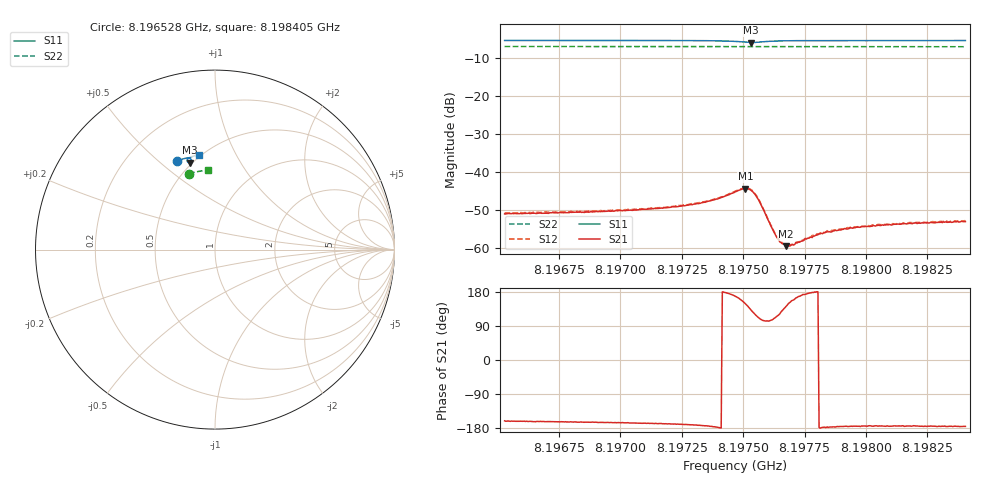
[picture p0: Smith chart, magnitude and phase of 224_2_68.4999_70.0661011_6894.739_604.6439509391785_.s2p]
#  HZ  S  RI  R  50.00
! Rohde & Schwarz Vector Network Analyzer
! Rohde-Schwarz,ZNB20-2Port,1311601062101988,3.16
! Created: UTC 3/20/2024, 5:13:46 PM
! freq[Hz]  re:S11  im:S11  re:S21  im:S21  re:S12  im:S12  re:S22  im:S22
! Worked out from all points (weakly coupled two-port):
!   401 points, 8.196528 GHz to 8.198405 GHz, reference 50 ohm
!   highest |S21| = -44.32 dB at 8.197509 GHz (marker M1); lowest = -59.4 dB at 8.197673 GHz (marker M2)
!   lowest |S11| = -5.9 dB at 8.197532 GHz (marker M3), VSWR 3.03, Z = 24.3 + j31.6 ohm
!   |S11| at or under -10 dB: nowhere
!   |S22| runs from -7.1 to -7.0 dB; largest |S21 - S12| = 0.0003
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8.1965284e9  -0.2132 0.4921  -0.00267 -0.000941  -0.0028 -0.000843  -0.1442 0.4232
8.1968428e9  -0.1917 0.5006  -0.00284 -0.000821  -0.00298 -0.000701  -0.127 0.4281
8.1971571e9  -0.1686 0.5078  -0.00327 -0.00071  -0.00335 -0.000626  -0.1098 0.4323
8.197326e9  -0.1534 0.5108  -0.00387 -0.000505  -0.00399 -0.000347  -0.1003 0.4343
8.1974104e9  -0.143 0.5097  -0.00464 -4.43e-05  -0.00474 0.000139  -0.0955 0.4352
8.1974667e9  -0.1343 0.5041  -0.0054 0.00107  -0.00543 0.00133  -0.0923 0.4355
8.197509e9  -0.1321 0.4919  -0.00521 0.00314  -0.00517 0.00343  -0.09 0.4356
8.1975324e9  -0.1387 0.4848  -0.00383 0.0043  -0.0038 0.00451  -0.0889 0.4357
8.1975465e9  -0.1448 0.4841  -0.00271 0.00442  -0.0026 0.00462  -0.0884 0.4357
8.1975606e9  -0.1502 0.4863  -0.00172 0.0041  -0.00159 0.00425  -0.0878 0.436
8.1975746e9  -0.1537 0.4902  -0.00103 0.00349  -0.000919 0.00359  -0.0871 0.4362
8.1976216e9  -0.1542 0.5025  -0.000518 0.00166  -0.000445 0.00171  -0.0845 0.4369
8.1976403e9  -0.1525 0.5058  -0.000607 0.00121  -0.000544 0.00125  -0.0833 0.4372
8.1976591e9  -0.1503 0.5082  -0.000743 0.000876  -0.000709 0.000951  -0.0822 0.4374
8.1976732e9  -0.149 0.5095  -0.000817 0.000686  -0.000823 0.000739  -0.0816 0.4376
8.1976825e9  -0.1479 0.5105  -0.000911 0.000578  -0.000924 0.000657  -0.0809 0.4376
8.1977013e9  -0.146 0.5119  -0.00103 0.000428  -0.00101 0.000496  -0.0801 0.4379
8.1977811e9  -0.1381 0.5158  -0.00139 4.11e-05  -0.00147 0.000122  -0.0755 0.4385
8.1978374e9  -0.1332 0.5176  -0.00164 -4.45e-05  -0.00164 1.18e-05  -0.0722 0.4391
8.1979312e9  -0.1255 0.5199  -0.00181 -0.000146  -0.00186 -7.93e-05  -0.067 0.4397
8.1980954e9  -0.1129 0.5229  -0.00205 -0.000183  -0.00208 -0.000126  -0.0576 0.4409
8.198405e9  -0.0903 0.5272  -0.00223 -0.000185  -0.00233 -8.56e-05  -0.0403 0.4421
